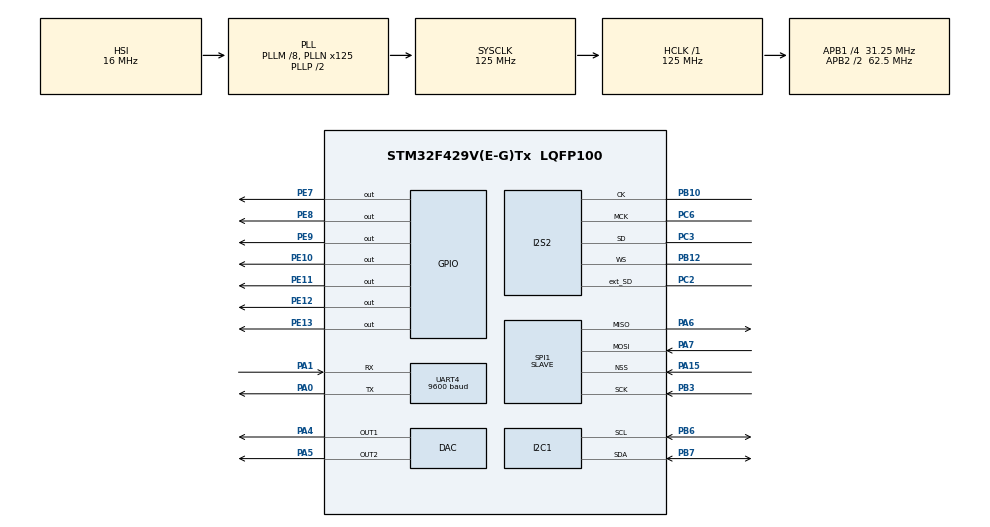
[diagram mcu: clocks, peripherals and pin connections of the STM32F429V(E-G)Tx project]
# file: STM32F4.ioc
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I2S2.AudioFreq=I2S_AUDIOFREQ_44K
I2S2.DataFormat=I2S_DATAFORMAT_32B
I2S2.ErrorAudioFreq=10.97 %
I2S2.FullDuplexMode=I2S_FULLDUPLEXMODE_ENABLE
I2S2.Instance=SPI$Index
I2S2.RealAudioFreq=48.828 KHz
I2S2.VirtualMode=I2S_MODE_MASTER
Mcu.Family=STM32F4
Mcu.Name=STM32F429V(E-G)Tx
Mcu.Package=LQFP100
NVIC.PriorityGroup=NVIC_PRIORITYGROUP_4
NVIC.SPI2_IRQn=true\:0\:0\:false\:false\:true\:true\:true
NVIC.TIM6_DAC_IRQn=true\:0\:0\:false\:false\:true\:true\:true
NVIC.UART4_IRQn=true\:0\:0\:false\:false\:true\:true\:true
PA0/WKUP.Mode=Asynchronous
PA0/WKUP.Signal=UART4_TX
PA1.Mode=Asynchronous
PA1.Signal=UART4_RX
PA15.Mode=NSS_Signal_Hard_Input
PA15.Signal=SPI1_NSS
PA4.Signal=COMP_DAC1_group
PA5.Signal=COMP_DAC2_group
PA6.Mode=Full_Duplex_Slave
PA6.Signal=SPI1_MISO
PA7.Mode=Full_Duplex_Slave
PA7.Signal=SPI1_MOSI
PB10.Mode=Full_Duplex_Master
PB10.Signal=I2S2_CK
PB12.Mode=Full_Duplex_Master
PB12.Signal=I2S2_WS
PB3.Mode=Full_Duplex_Slave
PB3.Signal=SPI1_SCK
PB6.Mode=I2C
PB6.Signal=I2C1_SCL
PB7.Mode=I2C
PB7.Signal=I2C1_SDA
PC2.Mode=Full_Duplex_Master
PC2.Signal=I2S2_ext_SD
PC3.Mode=Full_Duplex_Master
PC3.Signal=I2S2_SD
PC6.Mode=Master_Clock_Activated
PC6.Signal=I2S2_MCK
PE10.Signal=GPIO_Output
PE11.Signal=GPIO_Output
PE12.Signal=GPIO_Output
PE13.Signal=GPIO_Output
PE7.Signal=GPIO_Output
PE8.Signal=GPIO_Output
PE9.Signal=GPIO_Output
ProjectManager.HeapSize=0x200
ProjectManager.StackSize=0x400
ProjectManager.TargetToolchain=Makefile
RCC.48MHZClocksFreq_Value=62500000
RCC.AHBFreq_Value=125000000
RCC.APB1CLKDivider=RCC_HCLK_DIV4
RCC.APB1Freq_Value=31250000
RCC.APB1TimFreq_Value=62500000
RCC.APB2CLKDivider=RCC_HCLK_DIV2
RCC.APB2Freq_Value=62500000
RCC.APB2TimFreq_Value=125000000
RCC.CortexFreq_Value=125000000
RCC.HCLKFreq_Value=125000000
RCC.HSE_VALUE=25000000
RCC.HSI_VALUE=16000000
RCC.LSE_VALUE=32768
RCC.PLLI2SN=50
RCC.PLLM=8
RCC.PLLN=125
RCC.SYSCLKFreq_VALUE=125000000
RCC.SYSCLKSource=RCC_SYSCLKSOURCE_PLLCLK
RCC.VCOOutputFreq_Value=250000000
SH.COMP_DAC1_group.0=DAC_OUT1,DAC_OUT1
SH.COMP_DAC2_group.0=DAC_OUT2,DAC_OUT2
SPI1.Direction=SPI_DIRECTION_2LINES
SPI1.Mode=SPI_MODE_SLAVE
SPI1.VirtualNSS=VM_NSSHARD
SPI1.VirtualType=VM_SLAVE
TIM6.Period=1290
UART4.BaudRate=9600
UART4.VirtualMode=Asynchronous
VP_TIM6_VS_ClockSourceINT.Mode=Enable_Timer
board=custom

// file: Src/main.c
/* USER CODE BEGIN Header */
/**
  ******************************************************************************
  * @file           : main.c
  * @brief          : Main program body
  ******************************************************************************
  * @attention
  *
  * <h2><center>&copy; Copyright (c) 2019 STMicroelectronics.
  * All rights reserved.</center></h2>
  *
  * This software component is licensed by ST under BSD 3-Clause license,
  * the "License"; You may not use this file except in compliance with the
  * License. You may obtain a copy of the License at:
  *                        opensource.org/licenses/BSD-3-Clause
  *
  ******************************************************************************
  */
/* USER CODE END Header */

#include "main.h"

/* USER CODE BEGIN Includes */
#include "globals.h"
#include "spi_handler.h"
#include "midi.h"
#include "waves.h"
#include "oscillator.h"
#include "lfo.h"
#include "envelopes.h"
//#include "r2rdac.h"
#include "dac.h"
/* USER CODE END Includes */

DAC_HandleTypeDef hdac;
I2C_HandleTypeDef hi2c1;
I2S_HandleTypeDef hi2s2;
SPI_HandleTypeDef hspi1;
TIM_HandleTypeDef htim6;
UART_HandleTypeDef huart4;
/* USER CODE BEGIN PV */
uint8_t uart_tx_data = 0;
/* USER CODE END PV */

void SystemClock_Config(void);
static void MX_GPIO_Init(void);
static void MX_DAC_Init(void);
static void MX_I2C1_Init(void);
static void MX_I2S2_Init(void);
static void MX_SPI1_Init(void);
static void MX_TIM6_Init(void);
static void MX_UART4_Init(void);
/* USER CODE BEGIN PFP */
void HAL_UART_RxCpltCallback(UART_HandleTypeDef *huart);
void HAL_TIM_PeriodElapsedCallback(TIM_HandleTypeDef *htim);
void handle_byte_queue();
void handle_midi_queue();
/* USER CODE END PFP */

int main(void)
{

  /* MCU Configuration--------------------------------------------------------*/

  /* Reset of all peripherals, Initializes the Flash interface and the Systick. */
  HAL_Init();

  /* Configure the system clock */
  SystemClock_Config();

  /* Initialize all configured peripherals */
  MX_GPIO_Init();
  MX_DAC_Init();
  MX_I2C1_Init();
  MX_I2S2_Init();
  MX_SPI1_Init();
  MX_TIM6_Init();
  MX_UART4_Init();
  /* USER CODE BEGIN 2 */
  /* USER CODE BEGIN 2 */
  // uint8_t init_msg[20] = {"\nSTM32F429!\n"};
  // HAL_UART_Transmit(&huart4, init_msg, 20, 50);
  HAL_Delay(1000);
  InitDac(&hi2c1);
  init_wavetable();
  HAL_TIM_Base_Start_IT(&htim6);
  //HAL_DAC_Start(&hdac, DAC_CHANNEL_2);

  for(int i = 0; i < VOICES; i++) {
    env_state[i] = NOT_TRIGGERED;
    note_on[i] = MIDI_NOTE_OFF;
    note_freq[i] = 0;
    lfo_freq[i] = 20;
  }

  // DAC TEST NOTE
  struct midi_msg test_msg = {
                              0x90,
                              0x82,
                              0xFF,
                              0x00
  };
  enqueue(test_msg);
  // END DAC TEST NOTE

  //  uint8_t process_msg_flag  = 0;
  /* USER CODE END 2 */

  /* Infinite loop */
  while (1)
  {

    /* USER CODE BEGIN 3 */
    // uint8_t byte = SPI_ReceiveByte();
    HAL_UART_Receive_IT(&huart4, &uart_tx_data, 1);
    handle_byte_queue();
    handle_midi_queue();
    if(update_value_flag){
      update_value_flag = 0;
      update_lfos();
      update_envelope();
      update_output_value();
      //HAL_DAC_SetValue(&hdac, DAC_CHANNEL_2, DAC_ALIGN_8B_R, output_val);

      HAL_I2S_Transmit(&hi2s2, &output_val, 32, 100);
    }
  }
  /* USER CODE END 3 */
}

void SystemClock_Config(void)
{
  RCC_OscInitTypeDef RCC_OscInitStruct = {0};
  RCC_ClkInitTypeDef RCC_ClkInitStruct = {0};
  RCC_PeriphCLKInitTypeDef PeriphClkInitStruct = {0};

  /** Configure the main internal regulator output voltage
  */
  __HAL_RCC_PWR_CLK_ENABLE();
  __HAL_PWR_VOLTAGESCALING_CONFIG(PWR_REGULATOR_VOLTAGE_SCALE2);
  /** Initializes the CPU, AHB and APB busses clocks
  */
  RCC_OscInitStruct.OscillatorType = RCC_OSCILLATORTYPE_HSI;
  RCC_OscInitStruct.HSIState = RCC_HSI_ON;
  RCC_OscInitStruct.HSICalibrationValue = RCC_HSICALIBRATION_DEFAULT;
  RCC_OscInitStruct.PLL.PLLState = RCC_PLL_ON;
  RCC_OscInitStruct.PLL.PLLSource = RCC_PLLSOURCE_HSI;
  RCC_OscInitStruct.PLL.PLLM = 8;
  RCC_OscInitStruct.PLL.PLLN = 125;
  RCC_OscInitStruct.PLL.PLLP = RCC_PLLP_DIV2;
  RCC_OscInitStruct.PLL.PLLQ = 4;
  if (HAL_RCC_OscConfig(&RCC_OscInitStruct) != HAL_OK)
  {
    Error_Handler();
  }
  /** Initializes the CPU, AHB and APB busses clocks
  */
  RCC_ClkInitStruct.ClockType = RCC_CLOCKTYPE_HCLK|RCC_CLOCKTYPE_SYSCLK
                              |RCC_CLOCKTYPE_PCLK1|RCC_CLOCKTYPE_PCLK2;
  RCC_ClkInitStruct.SYSCLKSource = RCC_SYSCLKSOURCE_PLLCLK;
  RCC_ClkInitStruct.AHBCLKDivider = RCC_SYSCLK_DIV1;
  RCC_ClkInitStruct.APB1CLKDivider = RCC_HCLK_DIV4;
  RCC_ClkInitStruct.APB2CLKDivider = RCC_HCLK_DIV2;

  if (HAL_RCC_ClockConfig(&RCC_ClkInitStruct, FLASH_LATENCY_4) != HAL_OK)
  {
    Error_Handler();
  }
  PeriphClkInitStruct.PeriphClockSelection = RCC_PERIPHCLK_I2S;
  PeriphClkInitStruct.PLLI2S.PLLI2SN = 50;
  PeriphClkInitStruct.PLLI2S.PLLI2SR = 2;
  if (HAL_RCCEx_PeriphCLKConfig(&PeriphClkInitStruct) != HAL_OK)
  {
    Error_Handler();
  }
}

static void MX_DAC_Init(void)
{

  DAC_ChannelConfTypeDef sConfig = {0};

  /** DAC Initialization
  */
  hdac.Instance = DAC;
  if (HAL_DAC_Init(&hdac) != HAL_OK)
  {
    Error_Handler();
  }
  /** DAC channel OUT1 config
  */
  sConfig.DAC_Trigger = DAC_TRIGGER_NONE;
  sConfig.DAC_OutputBuffer = DAC_OUTPUTBUFFER_ENABLE;
  if (HAL_DAC_ConfigChannel(&hdac, &sConfig, DAC_CHANNEL_1) != HAL_OK)
  {
    Error_Handler();
  }
  /** DAC channel OUT2 config
  */
  if (HAL_DAC_ConfigChannel(&hdac, &sConfig, DAC_CHANNEL_2) != HAL_OK)
  {
    Error_Handler();
  }

}

static void MX_I2C1_Init(void)
{

  hi2c1.Instance = I2C1;
  hi2c1.Init.ClockSpeed = 100000;
  hi2c1.Init.DutyCycle = I2C_DUTYCYCLE_2;
  hi2c1.Init.OwnAddress1 = 0;
  hi2c1.Init.AddressingMode = I2C_ADDRESSINGMODE_7BIT;
  hi2c1.Init.DualAddressMode = I2C_DUALADDRESS_DISABLE;
  hi2c1.Init.OwnAddress2 = 0;
  hi2c1.Init.GeneralCallMode = I2C_GENERALCALL_DISABLE;
  hi2c1.Init.NoStretchMode = I2C_NOSTRETCH_DISABLE;
  if (HAL_I2C_Init(&hi2c1) != HAL_OK)
  {
    Error_Handler();
  }
  /** Configure Analogue filter
  */
  if (HAL_I2CEx_ConfigAnalogFilter(&hi2c1, I2C_ANALOGFILTER_ENABLE) != HAL_OK)
  {
    Error_Handler();
  }
  /** Configure Digital filter
  */
  if (HAL_I2CEx_ConfigDigitalFilter(&hi2c1, 0) != HAL_OK)
  {
    Error_Handler();
  }

}

static void MX_I2S2_Init(void)
{

  hi2s2.Instance = SPI2;
  hi2s2.Init.Mode = I2S_MODE_MASTER_TX;
  hi2s2.Init.Standard = I2S_STANDARD_PHILIPS;
  hi2s2.Init.DataFormat = I2S_DATAFORMAT_32B;
  hi2s2.Init.MCLKOutput = I2S_MCLKOUTPUT_ENABLE;
  hi2s2.Init.AudioFreq = I2S_AUDIOFREQ_44K;
  hi2s2.Init.CPOL = I2S_CPOL_LOW;
  hi2s2.Init.ClockSource = I2S_CLOCK_PLL;
  hi2s2.Init.FullDuplexMode = I2S_FULLDUPLEXMODE_ENABLE;
  if (HAL_I2S_Init(&hi2s2) != HAL_OK)
  {
    Error_Handler();
  }

}

static void MX_SPI1_Init(void)
{

  /* SPI1 parameter configuration*/
  hspi1.Instance = SPI1;
  hspi1.Init.Mode = SPI_MODE_SLAVE;
  hspi1.Init.Direction = SPI_DIRECTION_2LINES;
  hspi1.Init.DataSize = SPI_DATASIZE_8BIT;
  hspi1.Init.CLKPolarity = SPI_POLARITY_LOW;
  hspi1.Init.CLKPhase = SPI_PHASE_1EDGE;
  hspi1.Init.NSS = SPI_NSS_HARD_INPUT;
  hspi1.Init.FirstBit = SPI_FIRSTBIT_MSB;
  hspi1.Init.TIMode = SPI_TIMODE_DISABLE;
  hspi1.Init.CRCCalculation = SPI_CRCCALCULATION_DISABLE;
  hspi1.Init.CRCPolynomial = 10;
  if (HAL_SPI_Init(&hspi1) != HAL_OK)
  {
    Error_Handler();
  }

}

static void MX_TIM6_Init(void)
{

  TIM_MasterConfigTypeDef sMasterConfig = {0};

  htim6.Instance = TIM6;
  htim6.Init.Prescaler = 0;
  htim6.Init.CounterMode = TIM_COUNTERMODE_UP;
  htim6.Init.Period = 1290;
  htim6.Init.AutoReloadPreload = TIM_AUTORELOAD_PRELOAD_DISABLE;
  if (HAL_TIM_Base_Init(&htim6) != HAL_OK)
  {
    Error_Handler();
  }
  sMasterConfig.MasterOutputTrigger = TIM_TRGO_RESET;
  sMasterConfig.MasterSlaveMode = TIM_MASTERSLAVEMODE_DISABLE;
  if (HAL_TIMEx_MasterConfigSynchronization(&htim6, &sMasterConfig) != HAL_OK)
  {
    Error_Handler();
  }

}

static void MX_UART4_Init(void)
{

  huart4.Instance = UART4;
  huart4.Init.BaudRate = 9600;
  huart4.Init.WordLength = UART_WORDLENGTH_8B;
  huart4.Init.StopBits = UART_STOPBITS_1;
  huart4.Init.Parity = UART_PARITY_NONE;
  huart4.Init.Mode = UART_MODE_TX_RX;
  huart4.Init.HwFlowCtl = UART_HWCONTROL_NONE;
  huart4.Init.OverSampling = UART_OVERSAMPLING_16;
  if (HAL_UART_Init(&huart4) != HAL_OK)
  {
    Error_Handler();
  }

}

static void MX_GPIO_Init(void)
{
  GPIO_InitTypeDef GPIO_InitStruct = {0};

  /* GPIO Ports Clock Enable */
  __HAL_RCC_GPIOC_CLK_ENABLE();
  __HAL_RCC_GPIOA_CLK_ENABLE();
  __HAL_RCC_GPIOE_CLK_ENABLE();
  __HAL_RCC_GPIOB_CLK_ENABLE();

  /*Configure GPIO pin Output Level */
  HAL_GPIO_WritePin(GPIOE, GPIO_PIN_7|GPIO_PIN_8|GPIO_PIN_9|GPIO_PIN_10
                          |GPIO_PIN_11|GPIO_PIN_12|GPIO_PIN_13, GPIO_PIN_RESET);

  /*Configure GPIO pins : PE7 PE8 PE9 PE10
                           PE11 PE12 PE13 */
  GPIO_InitStruct.Pin = GPIO_PIN_7|GPIO_PIN_8|GPIO_PIN_9|GPIO_PIN_10
                          |GPIO_PIN_11|GPIO_PIN_12|GPIO_PIN_13;
  GPIO_InitStruct.Mode = GPIO_MODE_OUTPUT_PP;
  GPIO_InitStruct.Pull = GPIO_NOPULL;
  GPIO_InitStruct.Speed = GPIO_SPEED_FREQ_LOW;
  HAL_GPIO_Init(GPIOE, &GPIO_InitStruct);

}

/* USER CODE BEGIN 4 */
void HAL_UART_RxCpltCallback(UART_HandleTypeDef *huart) {
  if(uart_tx_data != 0 && uart_tx_data != '\n'){
    // HAL_UART_Transmit(&huart1, &uart_tx_data, 1, 50);
    enqueue_byte(uart_tx_data);
  }
}

void HAL_TIM_PeriodElapsedCallback(TIM_HandleTypeDef *htim) {
  if(htim->Instance == TIM6){
    update_value_flag = 1;
  }
}

void handle_byte_queue() {
  // probably need to refactor these SPI flags
  static uint8_t note_on_flag;
  static uint8_t note_off_flag;
  static uint8_t attack_cc_flag;
  static uint8_t decay_cc_flag;
  static uint8_t sustain_cc_flag;
  static uint8_t release_cc_flag;
  static uint8_t waveshape_cc_flag;
  static uint8_t lfo_cc_flag;

  if(spi_byte_queue.head != spi_byte_queue.tail){
    uint8_t value = dequeue_byte();
    uint8_t skip_command = 0;

    // HAL_UART_Transmit(&huart1, &value, 1, 50);

    if(attack_cc_flag) {
      attack_cc_flag = 0;
      struct midi_msg new_midi_msg =
        {
         ATTACK_CC,
         value,
         0,
         0
        };
      enqueue(new_midi_msg);
      skip_command = 1;
    }
    else if(decay_cc_flag) {
      decay_cc_flag = 0;
      struct midi_msg new_midi_msg =
        {
         DECAY_CC,
         value,
         0,
         0
        };
      enqueue(new_midi_msg);
      skip_command = 1;
    }
    else if(sustain_cc_flag) {
      sustain_cc_flag = 0;
      struct midi_msg new_midi_msg =
        {
         SUSTAIN_CC,
         value,
         0,
         0
        };
      enqueue(new_midi_msg);
      skip_command = 1;
    }
    else if(release_cc_flag) {
      release_cc_flag = 0;
      struct midi_msg new_midi_msg =
        {
         RELEASE_CC,
         value,
         0,
         0
        };
      enqueue(new_midi_msg);
      skip_command = 1;
    }
    else if(note_on_flag) {
      note_on_flag = 0;
      struct midi_msg new_midi_msg =
        {
         MIDI_NOTE_ON,
         value,
         0,
         0
        };
      enqueue(new_midi_msg);
      skip_command = 1;
    }
    else if (note_off_flag) {
      note_off_flag = 0;
      struct midi_msg new_midi_msg =
        {
         MIDI_NOTE_OFF,
         value,
         0,
         0
        };
      enqueue(new_midi_msg);
      skip_command = 1;
    }
    else if(waveshape_cc_flag) {
      waveshape_cc_flag = 0;
      struct midi_msg new_midi_msg =
        {
         WAVESHAPE_CC,
         value,
         0,
         0
        };
      enqueue(new_midi_msg);
      skip_command = 1;
    }
    else if(lfo_cc_flag){
      lfo_cc_flag = 0;
      struct midi_msg new_midi_msg =
        {
         LFO_CC,
         value,
         0,
         0
        };
      enqueue(new_midi_msg);
      skip_command = 1;
    }

    if(!skip_command){
      switch(value){
      case ATTACK_CC:
        attack_cc_flag = 1;
        break;
      case DECAY_CC:
        decay_cc_flag = 1;
        break;
      case SUSTAIN_CC:
        sustain_cc_flag = 1;
        break;
      case RELEASE_CC:
        release_cc_flag = 1;
        break;
      case MIDI_NOTE_ON:
        note_on_flag = 1;
        break;
      case MIDI_NOTE_OFF:
        note_off_flag = 1;
        break;
      case WAVESHAPE_CC:
        waveshape_cc_flag = 1;
        break;
      case LFO_CC:
        lfo_cc_flag = 1;
      }
    }
  }
}

void handle_midi_queue() {
  // uint8_t value;

  if(midi_msg_queue.head != midi_msg_queue.tail) {
    struct midi_msg current_midi_msg = dequeue();
    // value = current_midi_msg.byte1;

    switch(current_midi_msg.byte0) {
    case ATTACK_CC:
      attack = current_midi_msg.byte1 * 2;
      //UART_PrintADSR(&huart1);
      break;
    case DECAY_CC:
      decay = current_midi_msg.byte1 * 2;
      //UART_PrintADSR(&huart1);
      break;
    case SUSTAIN_CC:
      sustain = current_midi_msg.byte1 * 2;
      //UART_PrintADSR(&huart1);
      break;
    case RELEASE_CC:
      release = current_midi_msg.byte1 * 2;
      //UART_PrintADSR(&huart1);
      break;
    case MIDI_NOTE_ON:
      for (int i = 0; i < VOICES; i++) {
        if(note_on[i] == MIDI_NOTE_OFF){
          note_on[i] = MIDI_NOTE_ON;
          note_freq[i] = current_midi_msg.byte1;
          env_state[i] = ATTACK_MODE;
          break;
        }
      }
      break;
    case MIDI_NOTE_OFF:
      for (int i = 0; i < VOICES; i++) {
        if (note_on[i] == MIDI_NOTE_ON && note_freq[i] == current_midi_msg.byte1){
          //note_on[i] = MIDI_NOTE_OFF;
          env_state[i] = RELEASE_MODE;
        }
      }
      break;
      /*
    case WAVESHAPE_CC:
      if(current_midi_msg.byte1 < 50) {
        waveshape1 = base_sine;
        waveshape2 = base_tri;
      }
      else if(current_midi_msg.byte1 < 100) {
        waveshape1 = base_tri;
        waveshape2 = base_pos_saw;
      }
      else if(current_midi_msg.byte1 < 150) {
        waveshape1 = base_pos_saw;
        waveshape2 = base_neg_saw;
      }
      else if(current_midi_msg.byte1 < 200) {
        waveshape1 = base_neg_saw;
        waveshape2 = base_sq;
      }
      else {
        waveshape1 = base_sq;
        waveshape2 = base_sine;
      }
      break;
    case LFO_CC:
      global_lfo_freq = current_midi_msg.byte1 * 2;
      break;
      */
    }
  }
}
/* USER CODE END 4 */

void Error_Handler(void)
{
}

/************************ (C) COPYRIGHT STMicroelectronics *****END OF FILE****/
